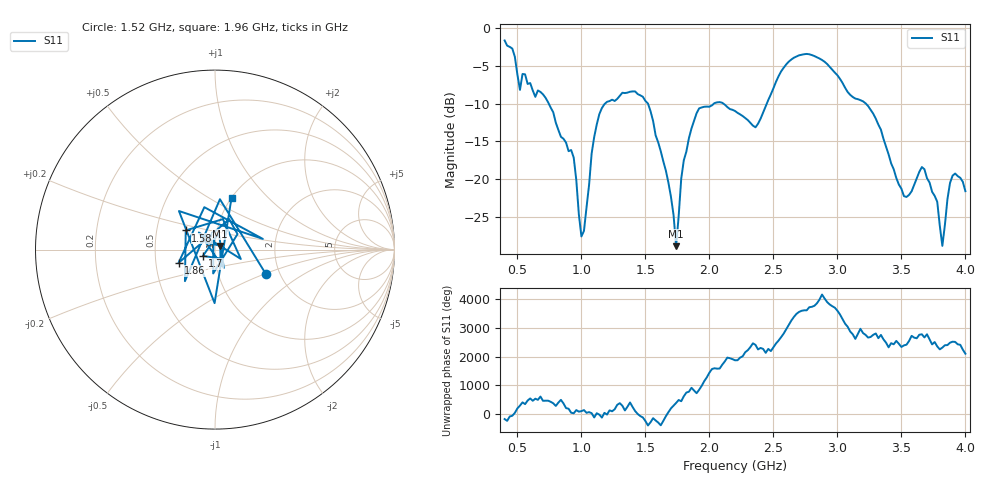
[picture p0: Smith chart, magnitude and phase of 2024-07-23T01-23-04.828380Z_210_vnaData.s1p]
!Created with skrf (http://scikit-rf.org).
# Hz S RI R 50.0
!freq ReS11 ImS11
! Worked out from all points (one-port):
!   181 points, 400 MHz to 4 GHz, reference 50 ohm
!   lowest |S11| = -28.8 dB at 1.74 GHz (marker M1), VSWR 1.07, Z = 53 + j2.22 ohm
!   |S11| at or under -10 dB: 744.8 MHz to 1.185 GHz (440 MHz wide, 45.6 % of centre); 1.52 GHz to 2.036 GHz (515.6 MHz wide, 29 % of centre); 3.222 GHz to end of sweep (the widest 3 of 4)
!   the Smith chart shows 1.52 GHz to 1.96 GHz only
!   S11 on the Smith chart (normalised r, x): 1.52 GHz: 1.70, -0.52; 1.58 GHz: 0.71, +0.16; 1.7 GHz: 0.87, -0.06; 1.86 GHz: 0.66, -0.10; 1.96 GHz: 1.00, +0.63
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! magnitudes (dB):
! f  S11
! 400 MHz  -1.7
! 480 MHz  -3.8
! 520 MHz  -8.2
! 700 MHz  -8.8
! 860 MHz  -14.7
! 940 MHz  -17.1
! 1 GHz  -27.6
! 1.14 GHz  -11.4
! 1.3 GHz  -9.0
! 1.52 GHz  -10.0
! 1.58 GHz  -14.2
! 1.7 GHz  -22.4
! 1.74 GHz  -28.8
! 1.76 GHz  -24.8
! 1.8 GHz  -17.5
! 1.86 GHz  -13.3
! 1.96 GHz  -10.4
! 2.2 GHz  -11.0
! 2.36 GHz  -13.1
! 2.66 GHz  -3.9
! 3.1 GHz  -8.8
! 3.28 GHz  -11.3
! 3.56 GHz  -22.1
! 3.68 GHz  -18.7
! 3.78 GHz  -23.0
! 3.82 GHz  -28.8
! 3.9 GHz  -19.5
! 4 GHz  -21.6
